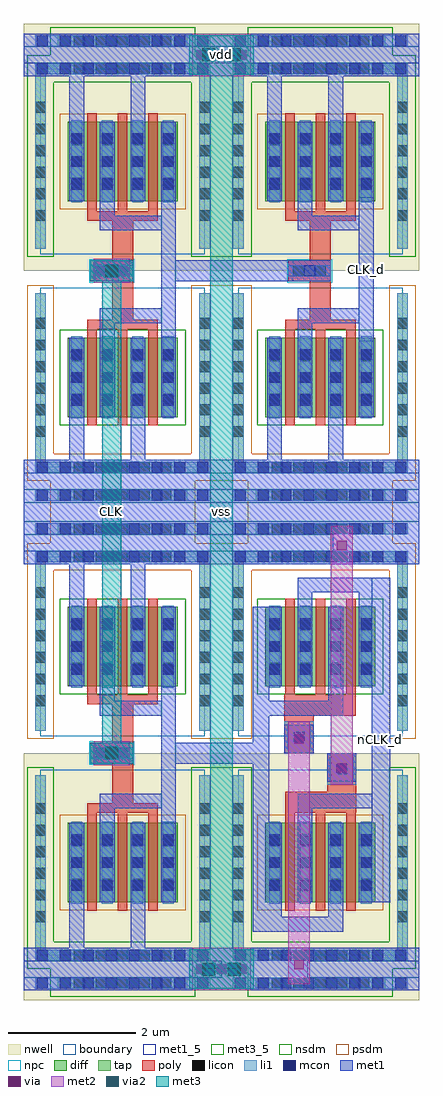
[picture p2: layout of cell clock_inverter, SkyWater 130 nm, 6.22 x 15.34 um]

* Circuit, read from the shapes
.subckt clock_inverter CLK CLK_d nCLK_d vdd vss
XM1 inverter_cp_x1_1/out CLK vss vss sky130_fd_pr__nfet_01v8 w=1.25 l=0.15 m=3
XM2 inverter_cp_x1_2/in CLK vss vss sky130_fd_pr__nfet_01v8 w=1.25 l=0.15 m=3
XM3 nCLK_d vdd inverter_cp_x1_1/out vss sky130_fd_pr__nfet_01v8 w=1.25 l=0.15 m=3
XM4 CLK_d inverter_cp_x1_2/in vss vss sky130_fd_pr__nfet_01v8 w=1.25 l=0.15 m=3
XM5 inverter_cp_x1_1/out CLK vdd vdd sky130_fd_pr__pfet_01v8 w=1.25 l=0.15 m=3
XM6 inverter_cp_x1_2/in CLK vdd vdd sky130_fd_pr__pfet_01v8 w=1.25 l=0.15 m=3
XM7 nCLK_d vss inverter_cp_x1_1/out vdd sky130_fd_pr__pfet_01v8 w=1.25 l=0.15 m=3
XM8 CLK_d inverter_cp_x1_2/in vdd vdd sky130_fd_pr__pfet_01v8 w=1.25 l=0.15 m=3
.ends

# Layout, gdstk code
import gdstk
lib = gdstk.Library(unit=1e-6, precision=1e-09)
def R(c, l, rs):  # rectangles x0, y0, x1, y1
    for r in rs: c.add(gdstk.rectangle(r[:2], r[2:], *l))
def A(c, l, x, y, w, h, nx, ny, dx, dy):  # array of equal rectangles
    R(c, l, [(x+i*dx, y+j*dy, x+i*dx+w, y+j*dy+h) for i in range(nx) for j in range(ny)])
nwell = (64, 20)
diff = (65, 20)
tap = (65, 44)
poly = (66, 20)
licon = (66, 44)
li1 = (67, 20)
mcon = (67, 44)
met1_5 = (68, 5)
met1 = (68, 20)
via = (68, 44)
met2 = (69, 20)
via2 = (69, 44)
met3_5 = (70, 5)
met3 = (70, 20)
nsdm = (93, 44)
psdm = (94, 20)
npc = (95, 20)
boundary = (235, 4)

sky130_fd_pr__nfet_01v8_ = lib.new_cell('sky130_fd_pr__nfet_01v8_BHR94T')
R(sky130_fd_pr__nfet_01v8_, diff, [(-0.865,-0.625,0.865,0.625)])
R(sky130_fd_pr__nfet_01v8_, tap, [(-1.375,-1.495,1.375,-1.325), (-1.375,-1.325,-1.205,1.325), (1.205,-1.325,1.375,1.325)])
A(sky130_fd_pr__nfet_01v8_, poly, -0.555, -0.755, 0.15, 1.51, 3, 1, 0.48, 0)
A(sky130_fd_pr__nfet_01v8_, licon, -0.765, -1.495, 0.17, 0.17, 5, 1, 0.34, 0)
A(sky130_fd_pr__nfet_01v8_, licon, -1.375, -0.935, 0.17, 0.17, 1, 6, 0, 0.34)
A(sky130_fd_pr__nfet_01v8_, licon, 1.205, -0.935, 0.17, 0.17, 1, 6, 0, 0.34)
A(sky130_fd_pr__nfet_01v8_, licon, -0.805, -0.425, 0.17, 0.17, 4, 3, 0.48, 0.34)
A(sky130_fd_pr__nfet_01v8_, li1, -0.805, -0.645, 0.17, 1.29, 4, 1, 0.48, 0)
R(sky130_fd_pr__nfet_01v8_, li1, [(-1.375,-1.495,1.375,-1.325), (-1.375,-1.325,-1.205,1.325), (1.205,-1.325,1.375,1.325)])
A(sky130_fd_pr__nfet_01v8_, mcon, -0.805, -0.445, 0.17, 0.17, 4, 3, 0.48, 0.36)
A(sky130_fd_pr__nfet_01v8_, met1, -0.835, -0.625, 0.23, 1.25, 4, 1, 0.48, 0)
R(sky130_fd_pr__nfet_01v8_, nsdm, [(-0.99,-0.75,0.99,0.75)])
R(sky130_fd_pr__nfet_01v8_, psdm, [(-1.5,-1.62,1.5,-1.2), (-1.5,-1.2,-1.08,1.45), (1.08,-1.2,1.5,1.45)])
R(sky130_fd_pr__nfet_01v8_, boundary, [(-1.29,-1.41,1.29,1.41)])

sky130_fd_pr__pfet_01v8_ = lib.new_cell('sky130_fd_pr__pfet_01v8_4798MH')
R(sky130_fd_pr__pfet_01v8_, nwell, [(-1.555,-1.72,1.555,1.72)])
R(sky130_fd_pr__pfet_01v8_, diff, [(-0.865,-0.625,0.865,0.625)])
R(sky130_fd_pr__pfet_01v8_, tap, [(-1.375,-1.37,-1.205,1.37), (1.205,-1.37,1.375,1.37), (-1.375,1.37,1.375,1.54)])
A(sky130_fd_pr__pfet_01v8_, poly, -0.555, -0.78, 0.15, 1.535, 3, 1, 0.48, 0)
A(sky130_fd_pr__pfet_01v8_, licon, -1.375, -0.935, 0.17, 0.17, 1, 6, 0, 0.34)
A(sky130_fd_pr__pfet_01v8_, licon, 1.205, -0.935, 0.17, 0.17, 1, 6, 0, 0.34)
A(sky130_fd_pr__pfet_01v8_, licon, -0.805, -0.425, 0.17, 0.17, 4, 3, 0.48, 0.34)
A(sky130_fd_pr__pfet_01v8_, licon, -0.765, 1.37, 0.17, 0.17, 5, 1, 0.34, 0)
A(sky130_fd_pr__pfet_01v8_, li1, -0.805, -0.645, 0.17, 1.29, 4, 1, 0.48, 0)
R(sky130_fd_pr__pfet_01v8_, li1, [(-1.375,-1.37,-1.205,1.37), (1.205,-1.37,1.375,1.37), (-1.375,1.37,1.375,1.54)])
A(sky130_fd_pr__pfet_01v8_, mcon, -0.805, -0.445, 0.17, 0.17, 4, 3, 0.48, 0.36)
A(sky130_fd_pr__pfet_01v8_, met1, -0.835, -0.625, 0.23, 1.25, 4, 1, 0.48, 0)
R(sky130_fd_pr__pfet_01v8_, nsdm, [(-1.5,-1.495,-1.08,1.245), (1.08,-1.495,1.5,1.245), (-1.5,1.245,1.5,1.665)])
R(sky130_fd_pr__pfet_01v8_, psdm, [(-0.99,-0.75,0.99,0.75)])
R(sky130_fd_pr__pfet_01v8_, boundary, [(-1.29,-1.455,1.29,1.455)])

trans_gate = lib.new_cell('trans_gate')
R(trans_gate, nwell, [(-0.265,3.175,2.845,3.615)])
R(trans_gate, tap, [(0.275,-3.875,2.305,-3.705), (0.275,3.265,2.305,3.435)])
R(trans_gate, poly, [(0.725,-1.185,1.845,-0.855), (0.725,-0.855,1.185,-0.265), (1.395,-0.265,1.855,0.345), (0.735,0.345,1.855,0.675)])
A(trans_gate, licon, 0.525, -3.875, 0.17, 0.17, 5, 2, 0.34, 7.14)
R(trans_gate, licon, [(0.87,-0.6,1.04,-0.43), (1.54,-0.1,1.71,0.07)])
R(trans_gate, li1, [(-0.085,-3.875,2.665,-3.705), (-0.085,-3.435,2.665,-3.265), (0.725,-0.765,1.185,-0.265), (1.395,-0.265,1.855,0.235), (-0.085,2.825,2.665,2.995), (-0.085,3.265,2.665,3.435)])
A(trans_gate, mcon, -0.055, -3.875, 0.17, 0.17, 8, 2, 0.36, 0.44)
A(trans_gate, mcon, -0.055, 2.825, 0.17, 0.17, 8, 2, 0.36, 0.44)
R(trans_gate, mcon, [(0.87,-0.6,1.04,-0.43), (1.54,-0.1,1.71,0.07)])
R(trans_gate, met1_5, [(-0.265,-3.705,1.495,-3.435), (1.085,2.995,2.845,3.265)])
R(trans_gate, met1, [(-0.265,-3.905,2.845,-3.235), (0.935,-3.025,2.385,-2.795), (0.935,-2.795,1.165,-2.565), (1.895,-2.795,2.385,-2.505), (0.225,-2.565,0.455,-1.705), (2.095,-2.505,2.385,-2.275), (2.125,-2.275,2.385,-1.715), (2.095,-1.715,2.385,0.37), (0.225,-1.705,0.485,-1.085), (1.415,-1.315,1.645,-1.085), (0.225,-1.085,1.645,-0.855), (0.225,-0.855,0.485,2.02), (0.725,-0.715,1.185,-0.265), (1.395,-0.265,1.855,0.185), (0.935,0.37,2.385,0.6), (0.935,0.6,1.165,0.89), (2.095,0.6,2.385,0.915), (2.125,0.915,2.385,2.08), (0.225,2.02,0.685,2.31), (1.415,2.02,1.645,2.31), (0.225,2.31,1.645,2.54), (-0.265,2.795,2.845,3.465)])
R(trans_gate, via, [(1.55,-3.6,1.7,-3.45), (0.88,-0.565,1.03,-0.415), (1.55,-0.115,1.7,0.035), (0.88,2.98,1.03,3.13)])
R(trans_gate, met2, [(1.495,-3.835,1.755,-3.83), (1.455,-3.83,1.795,0.235), (0.785,-0.765,1.125,3.365)])
R(trans_gate, nsdm, [(0.15,3.12,2.43,3.56)])
R(trans_gate, psdm, [(0.15,-4,2.43,-3.56)])
R(trans_gate, npc, [(0.77,-0.7,1.14,-0.33), (1.44,-0.2,1.81,0.17)])
trans_gate.add(gdstk.Reference(sky130_fd_pr__nfet_01v8_, (1.29,-1.94)))
trans_gate.add(gdstk.Reference(sky130_fd_pr__pfet_01v8_, (1.29,1.455)))
trans_gate.add(gdstk.Label('vdd', (1.965,3.13), layer=68, texttype=5))
trans_gate.add(gdstk.Label('vss', (0.615,-3.57), layer=68, texttype=5))

c_sky130_fd_pr__nfet_01v8_ = lib.new_cell('sky130_fd_pr__nfet_01v8_2BS6QM')
R(c_sky130_fd_pr__nfet_01v8_, diff, [(-0.865,-0.625,0.865,0.625)])
R(c_sky130_fd_pr__nfet_01v8_, tap, [(-1.375,-1.495,1.375,-1.325), (-1.375,-1.325,-1.205,1.325), (1.205,-1.325,1.375,1.325)])
A(c_sky130_fd_pr__nfet_01v8_, poly, -0.555, -0.755, 0.15, 1.51, 3, 1, 0.48, 0)
R(c_sky130_fd_pr__nfet_01v8_, poly, [(-0.555,0.755,0.555,0.905)])
A(c_sky130_fd_pr__nfet_01v8_, licon, -0.765, -1.495, 0.17, 0.17, 5, 1, 0.34, 0)
A(c_sky130_fd_pr__nfet_01v8_, licon, -1.375, -0.935, 0.17, 0.17, 1, 6, 0, 0.34)
A(c_sky130_fd_pr__nfet_01v8_, licon, 1.205, -0.935, 0.17, 0.17, 1, 6, 0, 0.34)
A(c_sky130_fd_pr__nfet_01v8_, licon, -0.805, -0.425, 0.17, 0.17, 4, 3, 0.48, 0.34)
A(c_sky130_fd_pr__nfet_01v8_, li1, -0.805, -0.645, 0.17, 1.29, 4, 1, 0.48, 0)
R(c_sky130_fd_pr__nfet_01v8_, li1, [(-1.375,-1.495,1.375,-1.325), (-1.375,-1.325,-1.205,1.325), (1.205,-1.325,1.375,1.325)])
A(c_sky130_fd_pr__nfet_01v8_, mcon, -0.805, -0.445, 0.17, 0.17, 4, 3, 0.48, 0.36)
A(c_sky130_fd_pr__nfet_01v8_, met1, -0.835, -0.625, 0.23, 1.25, 4, 1, 0.48, 0)
R(c_sky130_fd_pr__nfet_01v8_, nsdm, [(-0.99,-0.75,0.99,0.75)])
R(c_sky130_fd_pr__nfet_01v8_, psdm, [(-1.5,-1.62,1.5,-1.2), (-1.5,-1.2,-1.08,1.45), (1.08,-1.2,1.5,1.45)])
R(c_sky130_fd_pr__nfet_01v8_, boundary, [(-1.29,-1.41,1.29,1.41)])

c_sky130_fd_pr__pfet_01v8_ = lib.new_cell('sky130_fd_pr__pfet_01v8_7KT7MH')
R(c_sky130_fd_pr__pfet_01v8_, nwell, [(-1.555,-1.72,1.555,1.72)])
R(c_sky130_fd_pr__pfet_01v8_, diff, [(-0.865,-0.625,0.865,0.625)])
R(c_sky130_fd_pr__pfet_01v8_, tap, [(-1.375,-1.37,-1.205,1.37), (1.205,-1.37,1.375,1.37), (-1.375,1.37,1.375,1.54)])
A(c_sky130_fd_pr__pfet_01v8_, poly, -0.555, -0.78, 0.15, 1.535, 3, 1, 0.48, 0)
R(c_sky130_fd_pr__pfet_01v8_, poly, [(-0.555,-0.93,0.555,-0.78)])
A(c_sky130_fd_pr__pfet_01v8_, licon, -1.375, -0.935, 0.17, 0.17, 1, 6, 0, 0.34)
A(c_sky130_fd_pr__pfet_01v8_, licon, 1.205, -0.935, 0.17, 0.17, 1, 6, 0, 0.34)
A(c_sky130_fd_pr__pfet_01v8_, licon, -0.805, -0.425, 0.17, 0.17, 4, 3, 0.48, 0.34)
A(c_sky130_fd_pr__pfet_01v8_, licon, -0.765, 1.37, 0.17, 0.17, 5, 1, 0.34, 0)
A(c_sky130_fd_pr__pfet_01v8_, li1, -0.805, -0.645, 0.17, 1.29, 4, 1, 0.48, 0)
R(c_sky130_fd_pr__pfet_01v8_, li1, [(-1.375,-1.37,-1.205,1.37), (1.205,-1.37,1.375,1.37), (-1.375,1.37,1.375,1.54)])
A(c_sky130_fd_pr__pfet_01v8_, mcon, -0.805, -0.445, 0.17, 0.17, 4, 3, 0.48, 0.36)
A(c_sky130_fd_pr__pfet_01v8_, met1, -0.835, -0.625, 0.23, 1.25, 4, 1, 0.48, 0)
R(c_sky130_fd_pr__pfet_01v8_, nsdm, [(-1.5,-1.495,-1.08,1.245), (1.08,-1.495,1.5,1.245), (-1.5,1.245,1.5,1.665)])
R(c_sky130_fd_pr__pfet_01v8_, psdm, [(-0.99,-0.75,0.99,0.75)])
R(c_sky130_fd_pr__pfet_01v8_, boundary, [(-1.29,-1.455,1.29,1.455)])

inverter_cp_x1 = lib.new_cell('inverter_cp_x1')
R(inverter_cp_x1, nwell, [(0,3.44,3.11,3.88)])
R(inverter_cp_x1, tap, [(0.54,-3.61,2.57,-3.44), (0.54,3.53,2.57,3.7)])
R(inverter_cp_x1, poly, [(1.39,-0.92,1.72,-0.165), (1.05,-0.165,1.72,0.165), (1.39,0.165,1.72,0.94)])
A(inverter_cp_x1, licon, 0.79, -3.61, 0.17, 0.17, 5, 2, 0.34, 7.14)
R(inverter_cp_x1, licon, [(1.13,-0.085,1.3,0.085), (1.47,-0.085,1.64,0.085)])
R(inverter_cp_x1, li1, [(0.18,-3.61,2.93,-3.44), (0.18,-3.17,2.93,-3), (1.05,-0.085,1.72,0.085), (0.18,3.09,2.93,3.26), (0.18,3.53,2.93,3.7)])
A(inverter_cp_x1, mcon, 0.21, -3.61, 0.17, 0.17, 8, 2, 0.36, 0.44)
A(inverter_cp_x1, mcon, 0.21, 3.09, 0.17, 0.17, 8, 2, 0.36, 0.44)
R(inverter_cp_x1, mcon, [(1.3,-0.085,1.47,0.085)])
R(inverter_cp_x1, met1_5, [(0,-3.44,3.11,-3.17), (2.16,-1.05,2.39,1.11), (1.05,-0.165,1.13,0.165), (0,3.26,3.11,3.53)])
R(inverter_cp_x1, met1, [(0,-3.64,3.11,-2.97), (0.72,-2.97,0.95,-2.275), (1.68,-2.97,1.91,-2.255), (1.2,-1.05,1.43,-0.82), (2.16,-1.05,2.39,-0.82), (1.2,-0.82,2.39,-0.59), (2.16,-0.59,2.39,0.635), (1.05,-0.165,1.72,0.165), (1.2,0.635,2.39,0.865), (1.2,0.865,1.43,1.155), (2.16,0.865,2.39,1.11), (0.72,2.345,0.95,3.06), (1.68,2.345,1.91,3.06), (0,3.06,3.11,3.73)])
R(inverter_cp_x1, nsdm, [(0.415,3.385,2.695,3.825)])
R(inverter_cp_x1, psdm, [(0.415,-3.735,2.695,-3.295)])
R(inverter_cp_x1, npc, [(1.03,-0.185,1.74,0.185)])
inverter_cp_x1.add(gdstk.Reference(c_sky130_fd_pr__nfet_01v8_, (1.555,-1.675)))
inverter_cp_x1.add(gdstk.Reference(c_sky130_fd_pr__pfet_01v8_, (1.555,1.72)))
inverter_cp_x1.add(gdstk.Label('vdd', (1.555,3.395), layer=68, texttype=5))
inverter_cp_x1.add(gdstk.Label('vss', (1.555,-3.305), layer=68, texttype=5))
inverter_cp_x1.add(gdstk.Label('in', (1.09,0), layer=68, texttype=5))
inverter_cp_x1.add(gdstk.Label('out', (2.275,0.03), layer=68, texttype=5))

clock_inverter = lib.new_cell('clock_inverter')
R(clock_inverter, met1_5, [(5.47,1.535,5.76,6.64), (0,7.52,6.22,7.82), (5.27,10.35,5.5,12.615), (0,14.72,6.22,14.99)])
R(clock_inverter, met1, [(2.6,0.2,3.62,0.35), (0,0.35,6.22,0.62), (2.6,0.62,3.62,0.77), (5.47,1.535,5.76,6.64), (1.105,3.715,1.13,3.74), (2.39,3.715,3.6,4.045), (1.05,3.74,1.72,4.02), (1.105,4.02,1.13,4.045), (0,7.52,6.22,7.82), (5.27,10.35,5.5,12.615), (2.21,11.295,4.24,11.625), (1.05,11.32,1.72,11.6), (2.6,14.57,3.62,14.72), (0,14.72,6.22,14.99), (2.6,14.99,3.62,15.14)])
A(clock_inverter, via, 2.715, 0.41, 0.15, 0.15, 3, 2, 0.32, 14.37)
R(clock_inverter, via, [(1.31,3.805,1.46,3.955), (1.31,11.385,1.46,11.535)])
R(clock_inverter, met2, [(2.65,0.15,3.57,0.82), (1.1,3.69,1.67,4.07), (1.1,11.27,1.67,11.65), (2.65,14.52,3.57,15.19)])
R(clock_inverter, via2, [(2.81,0.385,3.01,0.585), (3.21,0.385,3.41,0.585), (1.285,3.78,1.485,3.98), (1.285,11.36,1.485,11.56), (2.81,14.755,3.01,14.955), (3.21,14.755,3.41,14.955)])
R(clock_inverter, met3_5, [(1.235,7.52,1.535,7.82)])
R(clock_inverter, met3, [(2.6,0.175,3.62,0.795), (2.93,0.795,3.29,14.545), (1.05,3.715,1.72,4.045), (1.235,4.045,1.535,11.295), (1.05,11.295,1.72,11.625), (2.6,14.545,3.62,15.165)])
R(clock_inverter, nsdm, [(3.055,0.495,3.165,3.655), (3.055,11.685,3.165,14.845)])
R(clock_inverter, psdm, [(3.055,4.105,3.165,7.175), (0.415,7.615,2.695,7.725), (3.525,7.615,5.805,7.725), (3.055,8.165,3.165,11.235)])
clock_inverter.add(gdstk.Reference(trans_gate, (3.375,3.615), x_reflection=True))
clock_inverter.add(gdstk.Reference(inverter_cp_x1, (0,3.88), x_reflection=True))
clock_inverter.add(gdstk.Reference(inverter_cp_x1, (3.11,11.46)))
clock_inverter.add(gdstk.Reference(inverter_cp_x1, (0,11.46)))
clock_inverter.add(gdstk.Label('vss', (3.11,7.67), layer=68, texttype=5))
clock_inverter.add(gdstk.Label('vdd', (3.11,14.855), layer=68, texttype=5))
clock_inverter.add(gdstk.Label('CLK', (1.385,7.67), layer=70, texttype=5))
clock_inverter.add(gdstk.Label('CLK_d', (5.385,11.482), layer=68, texttype=5))
clock_inverter.add(gdstk.Label('nCLK_d', (5.615,4.087), layer=68, texttype=5))

lib.write_gds('clock_inverter.gds')
